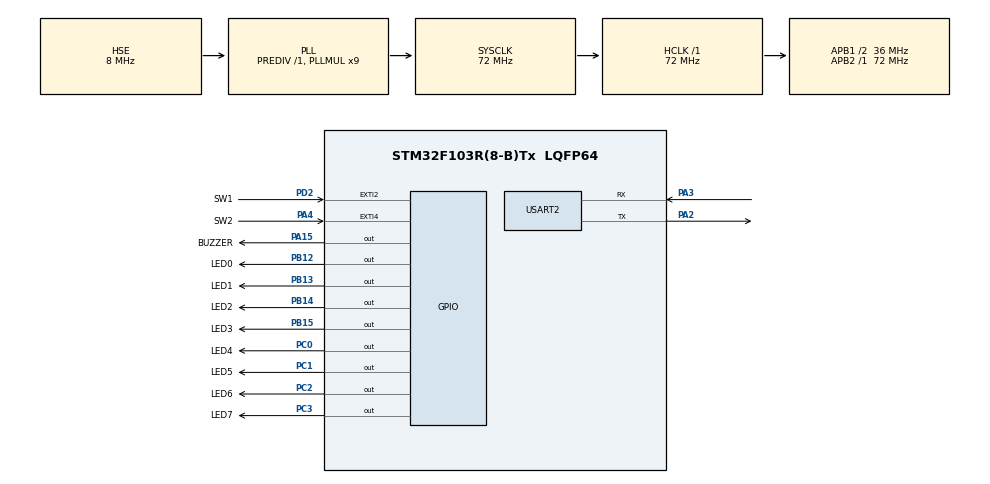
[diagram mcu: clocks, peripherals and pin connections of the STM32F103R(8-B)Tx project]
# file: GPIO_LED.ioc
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Mcu.Family=STM32F1
Mcu.Name=STM32F103R(8-B)Tx
Mcu.Package=LQFP64
NVIC.EXTI2_IRQn=true\:0\:0\:false\:false\:true\:true\:true\:true
NVIC.EXTI4_IRQn=true\:0\:0\:false\:false\:true\:true\:true\:true
NVIC.PriorityGroup=NVIC_PRIORITYGROUP_4
NVIC.USART2_IRQn=true\:0\:0\:false\:false\:true\:true\:true\:true
PA15.GPIO_Label=BUZZER
PA15.Signal=GPIO_Output
PA2.Mode=Asynchronous
PA2.Signal=USART2_TX
PA3.Mode=Asynchronous
PA3.Signal=USART2_RX
PA4.GPIO_Label=SW2
PA4.GPIO_ModeDefaultEXTI=GPIO_MODE_IT_FALLING
PA4.Signal=GPXTI4
PB12.GPIO_Label=LED0
PB12.Signal=GPIO_Output
PB13.GPIO_Label=LED1
PB13.Signal=GPIO_Output
PB14.GPIO_Label=LED2
PB14.Signal=GPIO_Output
PB15.GPIO_Label=LED3
PB15.Signal=GPIO_Output
PC0.GPIO_Label=LED4
PC0.Signal=GPIO_Output
PC1.GPIO_Label=LED5
PC1.Signal=GPIO_Output
PC14-OSC32_IN.Mode=LSE-External-Oscillator
PC14-OSC32_IN.Signal=RCC_OSC32_IN
PC15-OSC32_OUT.Mode=LSE-External-Oscillator
PC15-OSC32_OUT.Signal=RCC_OSC32_OUT
PC2.GPIO_Label=LED6
PC2.Signal=GPIO_Output
PC3.GPIO_Label=LED7
PC3.Signal=GPIO_Output
PD0-OSC_IN.Mode=HSE-External-Clock-Source
PD0-OSC_IN.Signal=RCC_OSC_IN
PD1-OSC_OUT.Mode=HSE-External-Clock-Source
PD1-OSC_OUT.Signal=RCC_OSC_OUT
PD2.GPIO_Label=SW1
PD2.GPIO_ModeDefaultEXTI=GPIO_MODE_IT_FALLING
PD2.Signal=GPXTI2
ProjectManager.HeapSize=0x200
ProjectManager.StackSize=0x400
ProjectManager.TargetToolchain=STM32CubeIDE
RCC.AHBFreq_Value=72000000
RCC.APB1CLKDivider=RCC_HCLK_DIV2
RCC.APB1Freq_Value=36000000
RCC.APB1TimFreq_Value=72000000
RCC.APB2Freq_Value=72000000
RCC.APB2TimFreq_Value=72000000
RCC.HCLKFreq_Value=72000000
RCC.PLLMUL=RCC_PLL_MUL9
RCC.PLLSourceVirtual=RCC_PLLSOURCE_HSE
RCC.SYSCLKFreq_VALUE=72000000
RCC.SYSCLKSource=RCC_SYSCLKSOURCE_PLLCLK
RCC.USBFreq_Value=72000000
USART2.VirtualMode=VM_ASYNC
VP_SYS_VS_ND.Mode=No_Debug
board=custom

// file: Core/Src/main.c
/* USER CODE BEGIN Header */
/**
  ******************************************************************************
  * @file           : main.c
  * @brief          : Main program body
  ******************************************************************************
  * @attention
  *
  * Copyright (c) 2024 STMicroelectronics.
  * All rights reserved.
  *
  * This software is licensed under terms that can be found in the LICENSE file
  * in the root directory of this software component.
  * If no LICENSE file comes with this software, it is provided AS-IS.
  *
  ******************************************************************************
  */
/* USER CODE END Header */
#include "main.h"

/* USER CODE BEGIN PD */
#define	OFF_MODE	0
#define	BLINK_MODE	1
#define	BOUNCE_MODE	2
/* USER CODE END PD */

UART_HandleTypeDef huart2;

/* USER CODE BEGIN PV */
uint8_t	_rx_buffer[1];

int _led_mode = OFF_MODE;

uint16_t led_pin[] = { LED0_Pin, LED1_Pin, LED2_Pin, LED3_Pin, LED4_Pin, LED5_Pin, LED6_Pin, LED7_Pin };
GPIO_TypeDef *led_port[] = { LED0_GPIO_Port, LED1_GPIO_Port, LED2_GPIO_Port, LED3_GPIO_Port,
		LED4_GPIO_Port, LED5_GPIO_Port, LED6_GPIO_Port, LED7_GPIO_Port
};

uint8_t _tx_buffer[100] = "";
uint8_t message_1[] = "\n\n**************************\n";
uint8_t message_2[] = "LED Emergency Mode Control\n";
uint8_t message_3[] = "**************************\n";
uint8_t message_4[] = "\n1. Set to [blink] mode\n";
uint8_t message_5[] = "2. Set to [bounce] mode\n";
uint8_t message_6[] = "3. Off all LEDs\n";
uint8_t message_7[] = "4. Inquire current mode\n";
uint8_t message_8[] = "\nType number : ";
uint8_t message_9[] = "\n\nNow, current LED mode is [blink] mode!\n";
uint8_t message_10[] = "\n\nNow, current LED mode is [bounce] mode!\n";
uint8_t message_11[] = "\n\nNow, all LEDs are [off]!\n";
uint8_t message_12[] = "\n\nCurrent LED mode is [blink] mode.\n";
uint8_t message_13[] = "\n\nCurrent LED mode is [bounce] mode.\n";
uint8_t message_14[] = "\n\nCurrent LED mode is [off] mode.\n";
uint8_t message_15[] = "\a\n\nWrong number! Type correct number!\n";

/* USER CODE END PV */

void SystemClock_Config(void);
static void MX_GPIO_Init(void);
static void MX_USART2_UART_Init(void);
/* USER CODE BEGIN PFP */
void display_menu()
{
	HAL_UART_Transmit(&huart2, message_1, sizeof(message_1), 1000);
	HAL_UART_Transmit(&huart2, message_2, sizeof(message_2), 1000);
	HAL_UART_Transmit(&huart2, message_3, sizeof(message_3), 1000);
	HAL_UART_Transmit(&huart2, message_4, sizeof(message_4), 1000);
	HAL_UART_Transmit(&huart2, message_5, sizeof(message_5), 1000);
	HAL_UART_Transmit(&huart2, message_6, sizeof(message_6), 1000);
	HAL_UART_Transmit(&huart2, message_7, sizeof(message_7), 1000);
	HAL_UART_Transmit(&huart2, message_8, sizeof(message_8), 1000);
}
/* USER CODE END PFP */

/* USER CODE BEGIN 0 */
void led_blink()
{
	for(unsigned int i = 0; i < 4; i++)
	{
		HAL_GPIO_WritePin(led_port[i], led_pin[i], GPIO_PIN_SET);
		HAL_GPIO_WritePin(led_port[i+4], led_pin[i+4], GPIO_PIN_RESET);
	}
	HAL_Delay(500);
	if(_led_mode != BLINK_MODE)
		return;
	for(unsigned int i = 0; i < 4; i++)
	{
		HAL_GPIO_WritePin(led_port[i], led_pin[i], GPIO_PIN_RESET);
		HAL_GPIO_WritePin(led_port[i+4], led_pin[i+4], GPIO_PIN_SET);
	}
	HAL_Delay(500);
}

void led_bounce()
{
	for(unsigned int i = 0; i < 7; i++)
	{
		HAL_GPIO_WritePin(led_port[i], led_pin[i], GPIO_PIN_RESET);
		HAL_GPIO_WritePin(led_port[i+1], led_pin[i+1], GPIO_PIN_SET);
		HAL_Delay(100);
		if(_led_mode != BOUNCE_MODE)
			return;
	}

	for(unsigned int i = 7; i > 0; i--)
	{
		HAL_GPIO_WritePin(led_port[i], led_pin[i], GPIO_PIN_RESET);
		HAL_GPIO_WritePin(led_port[i-1], led_pin[i-1], GPIO_PIN_SET);
		HAL_Delay(100);
		if(_led_mode != BOUNCE_MODE)
			return;
	}
}

void led_off()
{
	for(unsigned int i = 0; i < 8; i++)
		HAL_GPIO_WritePin(led_port[i], led_pin[i], GPIO_PIN_RESET);
}
/* USER CODE END 0 */

int main(void)
{

  /* MCU Configuration--------------------------------------------------------*/

  /* Reset of all peripherals, Initializes the Flash interface and the Systick. */
  HAL_Init();

  /* Configure the system clock */
  SystemClock_Config();

  /* Initialize all configured peripherals */
  MX_GPIO_Init();
  MX_USART2_UART_Init();
  /* USER CODE BEGIN 2 */

/*  HAL_GPIO_WritePin(BUZZER_GPIO_Port, BUZZER_Pin, 1);
  HAL_Delay(500);
  HAL_GPIO_WritePin(BUZZER_GPIO_Port, BUZZER_Pin, 0); */

  display_menu();

  HAL_UART_Receive_IT(&huart2, _rx_buffer, 1);
  /* USER CODE END 2 */

  /* Infinite loop */
  /* USER CODE BEGIN WHILE */
  while (1)
  {
	  if(_led_mode == BLINK_MODE)
		  led_blink();
	  else if(_led_mode == BOUNCE_MODE)
		  led_bounce();
	  else
		  led_off();
    /* USER CODE END WHILE */

  }
}

void SystemClock_Config(void)
{
  RCC_OscInitTypeDef RCC_OscInitStruct = {0};
  RCC_ClkInitTypeDef RCC_ClkInitStruct = {0};

  /** Initializes the RCC Oscillators according to the specified parameters
  * in the RCC_OscInitTypeDef structure.
  */
  RCC_OscInitStruct.OscillatorType = RCC_OSCILLATORTYPE_HSE;
  RCC_OscInitStruct.HSEState = RCC_HSE_BYPASS;
  RCC_OscInitStruct.HSEPredivValue = RCC_HSE_PREDIV_DIV1;
  RCC_OscInitStruct.HSIState = RCC_HSI_ON;
  RCC_OscInitStruct.PLL.PLLState = RCC_PLL_ON;
  RCC_OscInitStruct.PLL.PLLSource = RCC_PLLSOURCE_HSE;
  RCC_OscInitStruct.PLL.PLLMUL = RCC_PLL_MUL9;
  if (HAL_RCC_OscConfig(&RCC_OscInitStruct) != HAL_OK)
  {
    Error_Handler();
  }

  /** Initializes the CPU, AHB and APB buses clocks
  */
  RCC_ClkInitStruct.ClockType = RCC_CLOCKTYPE_HCLK|RCC_CLOCKTYPE_SYSCLK
                              |RCC_CLOCKTYPE_PCLK1|RCC_CLOCKTYPE_PCLK2;
  RCC_ClkInitStruct.SYSCLKSource = RCC_SYSCLKSOURCE_PLLCLK;
  RCC_ClkInitStruct.AHBCLKDivider = RCC_SYSCLK_DIV1;
  RCC_ClkInitStruct.APB1CLKDivider = RCC_HCLK_DIV2;
  RCC_ClkInitStruct.APB2CLKDivider = RCC_HCLK_DIV1;

  if (HAL_RCC_ClockConfig(&RCC_ClkInitStruct, FLASH_LATENCY_2) != HAL_OK)
  {
    Error_Handler();
  }
}

static void MX_USART2_UART_Init(void)
{

  huart2.Instance = USART2;
  huart2.Init.BaudRate = 115200;
  huart2.Init.WordLength = UART_WORDLENGTH_8B;
  huart2.Init.StopBits = UART_STOPBITS_1;
  huart2.Init.Parity = UART_PARITY_NONE;
  huart2.Init.Mode = UART_MODE_TX_RX;
  huart2.Init.HwFlowCtl = UART_HWCONTROL_NONE;
  huart2.Init.OverSampling = UART_OVERSAMPLING_16;
  if (HAL_UART_Init(&huart2) != HAL_OK)
  {
    Error_Handler();
  }

}

static void MX_GPIO_Init(void)
{
  GPIO_InitTypeDef GPIO_InitStruct = {0};

  /* GPIO Ports Clock Enable */
  __HAL_RCC_GPIOC_CLK_ENABLE();
  __HAL_RCC_GPIOD_CLK_ENABLE();
  __HAL_RCC_GPIOA_CLK_ENABLE();
  __HAL_RCC_GPIOB_CLK_ENABLE();

  /*Configure GPIO pin Output Level */
  HAL_GPIO_WritePin(GPIOC, LED4_Pin|LED5_Pin|LED6_Pin|LED7_Pin, GPIO_PIN_RESET);

  /*Configure GPIO pin Output Level */
  HAL_GPIO_WritePin(GPIOB, LED0_Pin|LED1_Pin|LED2_Pin|LED3_Pin, GPIO_PIN_RESET);

  /*Configure GPIO pin Output Level */
  HAL_GPIO_WritePin(BUZZER_GPIO_Port, BUZZER_Pin, GPIO_PIN_RESET);

  /*Configure GPIO pins : LED4_Pin LED5_Pin LED6_Pin LED7_Pin */
  GPIO_InitStruct.Pin = LED4_Pin|LED5_Pin|LED6_Pin|LED7_Pin;
  GPIO_InitStruct.Mode = GPIO_MODE_OUTPUT_PP;
  GPIO_InitStruct.Pull = GPIO_NOPULL;
  GPIO_InitStruct.Speed = GPIO_SPEED_FREQ_LOW;
  HAL_GPIO_Init(GPIOC, &GPIO_InitStruct);

  /*Configure GPIO pin : SW2_Pin */
  GPIO_InitStruct.Pin = SW2_Pin;
  GPIO_InitStruct.Mode = GPIO_MODE_IT_FALLING;
  GPIO_InitStruct.Pull = GPIO_NOPULL;
  HAL_GPIO_Init(SW2_GPIO_Port, &GPIO_InitStruct);

  /*Configure GPIO pins : LED0_Pin LED1_Pin LED2_Pin LED3_Pin */
  GPIO_InitStruct.Pin = LED0_Pin|LED1_Pin|LED2_Pin|LED3_Pin;
  GPIO_InitStruct.Mode = GPIO_MODE_OUTPUT_PP;
  GPIO_InitStruct.Pull = GPIO_NOPULL;
  GPIO_InitStruct.Speed = GPIO_SPEED_FREQ_LOW;
  HAL_GPIO_Init(GPIOB, &GPIO_InitStruct);

  /*Configure GPIO pin : BUZZER_Pin */
  GPIO_InitStruct.Pin = BUZZER_Pin;
  GPIO_InitStruct.Mode = GPIO_MODE_OUTPUT_PP;
  GPIO_InitStruct.Pull = GPIO_NOPULL;
  GPIO_InitStruct.Speed = GPIO_SPEED_FREQ_LOW;
  HAL_GPIO_Init(BUZZER_GPIO_Port, &GPIO_InitStruct);

  /*Configure GPIO pin : SW1_Pin */
  GPIO_InitStruct.Pin = SW1_Pin;
  GPIO_InitStruct.Mode = GPIO_MODE_IT_FALLING;
  GPIO_InitStruct.Pull = GPIO_NOPULL;
  HAL_GPIO_Init(SW1_GPIO_Port, &GPIO_InitStruct);

  /* EXTI interrupt init*/
  HAL_NVIC_SetPriority(EXTI2_IRQn, 0, 0);
  HAL_NVIC_EnableIRQ(EXTI2_IRQn);

  HAL_NVIC_SetPriority(EXTI4_IRQn, 0, 0);
  HAL_NVIC_EnableIRQ(EXTI4_IRQn);

}

/* USER CODE BEGIN 4 */
/* step 3 JKIT-NUCLEO-64 board LED0 ~ LED3 Toggle using SW1 interrupt */
/* void HAL_GPIO_EXTI_Callback(uint16_t GPIO_Pin)
{
	if(GPIO_Pin == SW1_Pin)	// SW1 interrupt
	{
		if(HAL_GPIO_ReadPin(LED3_GPIO_Port, LED3_Pin))	// LED3 ON check
		  HAL_GPIO_WritePin(LED3_GPIO_Port, LED3_Pin | LED2_Pin | LED1_Pin | LED0_Pin, GPIO_PIN_RESET);	// LED0~LED3 OFF
		else
		  HAL_GPIO_WritePin(LED3_GPIO_Port, LED3_Pin | LED2_Pin | LED1_Pin | LED0_Pin, GPIO_PIN_SET);	// LED0~LED3 ON
	}
} */
/* ------------------------------------------------------------------ */

void HAL_UART_RxCpltCallback(UART_HandleTypeDef *huart)
{
	switch(_rx_buffer[0])
	{
	case '1':
		_led_mode = BLINK_MODE;
		HAL_UART_Transmit(&huart2, message_9, sizeof(message_9), 1000);
		break;
	case '2':
		_led_mode = BOUNCE_MODE;
		HAL_UART_Transmit(&huart2, message_10, sizeof(message_10), 1000);
		break;
	case '3':
		_led_mode = OFF_MODE;
		HAL_UART_Transmit(&huart2, message_11, sizeof(message_11), 1000);
		break;
	case '4':
	{
		switch(_led_mode)
		{
		case BLINK_MODE:
			HAL_UART_Transmit(&huart2, message_12, sizeof(message_12), 1000);
			break;
		case BOUNCE_MODE:
			HAL_UART_Transmit(&huart2, message_13, sizeof(message_13), 1000);
			break;
		default:
			HAL_UART_Transmit(&huart2, message_14, sizeof(message_14), 1000);
			break;
		}
		break;
	}
	default:
		HAL_UART_Transmit(&huart2, message_15, sizeof(message_15), 1000);
		break;
	}
	display_menu();
	HAL_UART_Receive_IT(&huart2, _rx_buffer, 1);
}

/* USER CODE END 4 */

void Error_Handler(void)
{
  __disable_irq();
  while (1)
  {
  }
}
